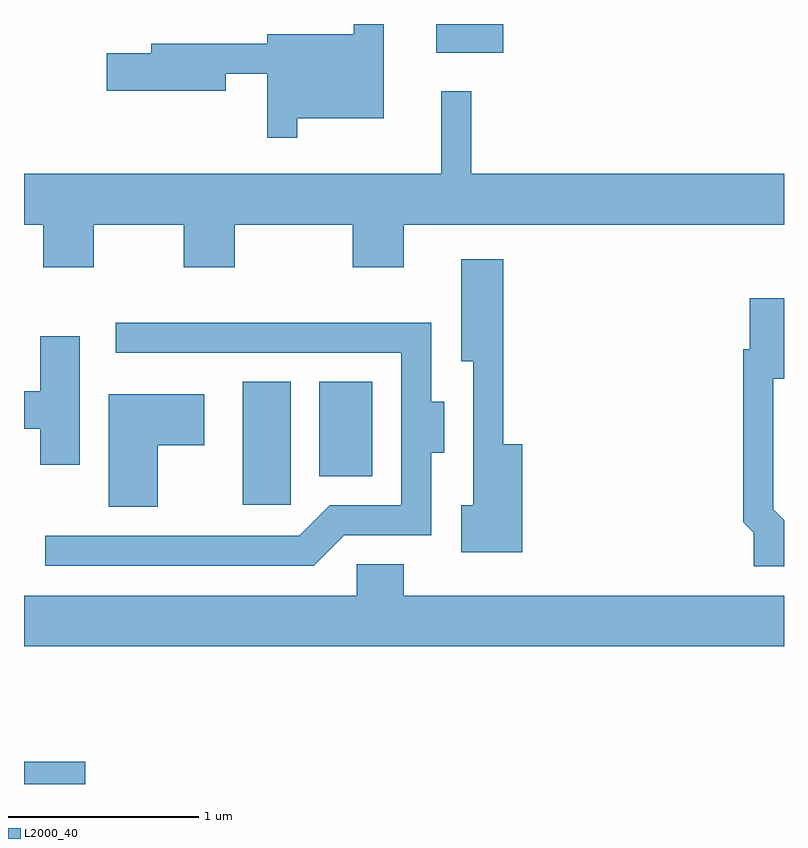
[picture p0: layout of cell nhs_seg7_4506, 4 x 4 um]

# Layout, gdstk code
import gdstk
lib = gdstk.Library(unit=1e-6, precision=1e-09)
def R(c, l, rs):  # rectangles x0, y0, x1, y1
    for r in rs: c.add(gdstk.rectangle(r[:2], r[2:], *l))
def P(c, l, *ps):  # polygons
    for p in ps: c.add(gdstk.Polygon(p, *l))
L2000_40 = (2000, 40)

nhs_seg7_4506 = lib.new_cell('nhs_seg7_4506')
R(nhs_seg7_4506, L2000_40, [(323.611,1720.252,323.934,1720.369), (324.761,1721.721,325.014,1722.369), (325.166,1721.871,325.444,1722.369), (325.781,1724.101,326.134,1724.252)])
P(nhs_seg7_4506, L2000_40, [(325.049,1723.756),(325.504,1723.756),(325.504,1724.252),(325.346,1724.252),(325.346,1724.199),(324.891,1724.199),(324.891,1724.149),(324.281,1724.149),(324.281,1724.099),(324.046,1724.099),(324.046,1723.901),(324.674,1723.901),(324.674,1723.991),(324.891,1723.991),(324.891,1723.653),(325.049,1723.653)],
  [(323.979,1723.196),(324.451,1723.196),(324.451,1722.971),(324.719,1722.971),(324.719,1723.196),(325.341,1723.196),(325.341,1722.971),(325.609,1722.971),(325.609,1723.196),(327.611,1723.196),(327.611,1723.464),(325.964,1723.464),(325.964,1723.898),(325.806,1723.898),(325.806,1723.464),(323.611,1723.464),(323.611,1723.196),(323.711,1723.196),(323.711,1722.971),(323.979,1722.971)],
  [(326.234,1722.039),(326.134,1722.039),(326.134,1723.014),(325.911,1723.014),(325.911,1722.476),(325.976,1722.476),(325.976,1721.719),(325.911,1721.719),(325.911,1721.471),(326.234,1721.471)],
  [(327.611,1721.64),(327.554,1721.697),(327.554,1722.386),(327.611,1722.386),(327.611,1722.809),(327.431,1722.809),(327.431,1722.539),(327.396,1722.539),(327.396,1721.629),(327.451,1721.574),(327.451,1721.398),(327.611,1721.398)],
  [(325.297,1721.561),(325.754,1721.561),(325.754,1721.996),(325.824,1721.996),(325.824,1722.264),(325.754,1722.264),(325.754,1722.679),(324.093,1722.679),(324.093,1722.521),(325.596,1722.521),(325.596,1721.719),(325.219,1721.719),(325.059,1721.559),(323.723,1721.559),(323.723,1721.401),(325.137,1721.401)],
  [(323.904,1722.609),(323.696,1722.609),(323.696,1722.319),(323.611,1722.319),(323.611,1722.121),(323.696,1722.121),(323.696,1721.931),(323.904,1721.931)],
  [(324.314,1722.036),(324.559,1722.036),(324.559,1722.304),(324.056,1722.304),(324.056,1721.711),(324.314,1721.711)],
  [(327.611,1721.244),(325.609,1721.244),(325.609,1721.409),(325.361,1721.409),(325.361,1721.244),(323.611,1721.244),(323.611,1720.976),(327.611,1720.976)])

lib.write_gds('nhs_seg7_4506.gds')
